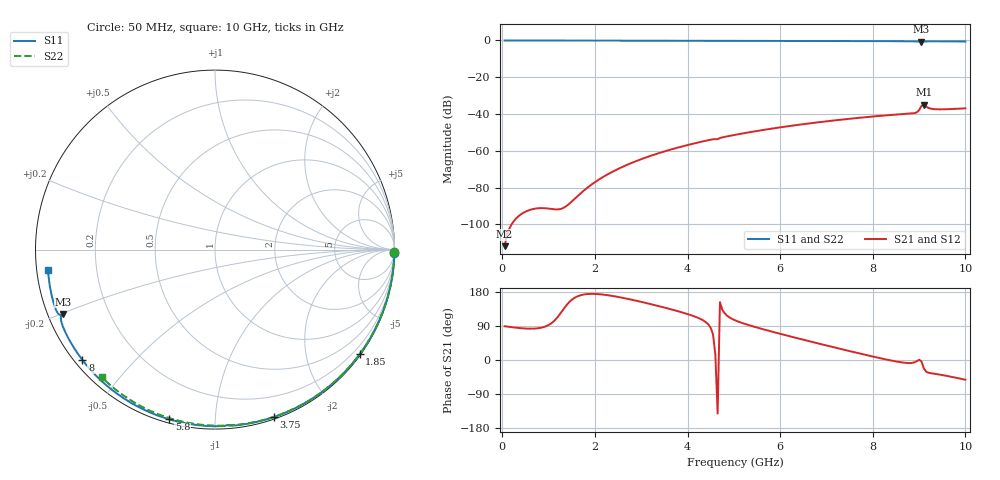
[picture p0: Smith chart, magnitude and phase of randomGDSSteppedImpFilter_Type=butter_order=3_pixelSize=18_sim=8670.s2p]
! freq	dB(S11)	phase(S11)	dB(S12)	phase(S12)
!  dB(S21)	phase(S21)	dB(S22)	phase(S22)
!S-par simulation data
#  GHz  S  DB  R 50
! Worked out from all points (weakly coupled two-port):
!   200 points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, 50 MHz to 10 GHz, reference 50 ohm
!   highest |S21| = -34.88 dB at 9.1 GHz (marker M1); lowest = -111.9 dB at 50 MHz (marker M2)
!   lowest |S11| = -0.7 dB at 9.05 GHz (marker M3), VSWR 23.60, Z = 2.21 - j10.2 ohm
!   |S11| at or under -10 dB: nowhere
!   |S22| runs from -0.4 to 0.0 dB; largest |S21 - S12| = 0
!   S11 on the Smith chart (normalised r, x): 50 MHz: open; 1.85 GHz: 0.03, -3.09; 3.75 GHz: 0.02, -1.41; 5.8 GHz: 0.02, -0.77; 8 GHz: 0.02, -0.36; 10 GHz: 0.03, -0.06
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0.05  -0.00 -1.0  -111.91 89.1  -111.91 89.1  -0.00 -0.8
0.85  -0.02 -16.7  -91.20 85.5  -91.20 85.5  -0.02 -12.8
1.75  -0.04 -34.0  -81.88 172.6  -81.88 172.6  -0.03 -26.2
1.85  -0.05 -35.9  -79.84 174.2  -79.84 174.2  -0.04 -27.7
2.15  -0.05 -41.5  -74.66 172.9  -74.66 172.9  -0.04 -32.1
2.5  -0.06 -48.0  -69.90 166.4  -69.90 166.4  -0.05 -37.1
2.9  -0.07 -55.4  -65.54 156.2  -65.54 156.2  -0.06 -42.9
3.4  -0.09 -64.4  -61.15 141.6  -61.15 141.6  -0.07 -49.9
3.75  -0.10 -70.6  -58.56 130.3  -58.56 130.3  -0.07 -54.8
4.4  -0.12 -81.9  -54.52 99.2  -54.52 99.2  -0.09 -63.6
5.05  -0.14 -92.7  -51.22 103.6  -51.22 103.6  -0.11 -72.2
5.8  -0.18 -105.1  -48.03 75.6  -48.03 75.6  -0.14 -81.9
6.7  -0.24 -119.5  -44.90 47.4  -44.90 47.4  -0.18 -93.1
8  -0.34 -140.2  -41.37 9.2  -41.37 9.2  -0.26 -108.6
8.35  -0.38 -145.9  -40.62 -0.2  -40.62 -0.2  -0.29 -112.7
8.9  -0.50 -155.2  -39.54 -6.1  -39.54 -6.1  -0.34 -119.1
9  -0.62 -156.9  -37.94 0.6  -37.94 0.6  -0.35 -120.2
9.05  -0.74 -157.0  -35.62 -3.5  -35.62 -3.5  -0.36 -120.7
9.1  -0.63 -156.6  -34.88 -21.2  -34.88 -21.2  -0.36 -121.2
9.2  -0.47 -158.8  -36.66 -33.5  -36.66 -33.5  -0.36 -122.4
9.35  -0.47 -161.7  -37.41 -36.6  -37.41 -36.6  -0.37 -124.1
10  -0.56 -173.2  -36.93 -52.0  -36.93 -52.0  -0.44 -131.5
